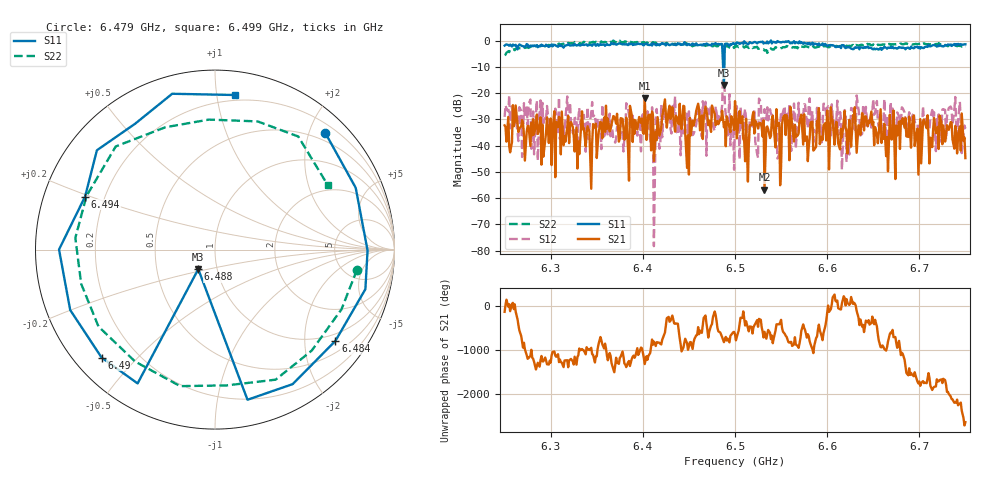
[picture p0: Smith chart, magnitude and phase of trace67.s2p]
# Hz S RI R 50
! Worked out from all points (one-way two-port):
!   401 points, 6.25 GHz to 6.75 GHz, reference 50 ohm
!   highest |S21| = -21.85 dB at 6.402 GHz (marker M1); lowest = -56.8 dB at 6.532 GHz (marker M2)
!   lowest |S11| = -16.9 dB at 6.488 GHz (marker M3), VSWR 1.33, Z = 40.6 - j9.03 ohm
!   |S11| at or under -10 dB: 6.487115 GHz to 6.488441 GHz (1.326 MHz wide, 0.0204 % of centre)
!   |S22| runs from -5.6 to 0.0 dB; largest |S21 - S12| = 0.72
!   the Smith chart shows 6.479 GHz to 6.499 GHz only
!   S11 on the Smith chart (normalised r, x): 6.479 GHz: 0.35, +2.28; 6.484 GHz: 0.79, -2.77; 6.488 GHz: 0.81, -0.18; 6.49 GHz: 0.08, -0.40; 6.494 GHz: 0.13, +0.19; 6.499 GHz: 0.16, +1.13
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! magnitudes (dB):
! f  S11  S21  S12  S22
! 6.25 GHz  -1.9  -32.3  -29.1  -5.6
! 6.334 GHz  -1.6  -26.9  -29.5  -1.3
! 6.402 GHz  -1.4  -21.9  -27.0  -0.9
! 6.41 GHz  -1.9  -27.0  -25.4  -0.9
! 6.418 GHz  -1.8  -36.2  -41.2  -1.4
! 6.442 GHz  -1.5  -33.7  -32.7  -1.6
! 6.45 GHz  -1.3  -51.0  -27.0  -1.7
! 6.459 GHz  -1.6  -25.3  -26.6  -1.8
! 6.479 GHz  -1.0  -32.2  -25.0  -1.9
! 6.484 GHz  -1.5  -30.0  -29.6  -2.4
! 6.488 GHz  -16.9  -33.0  -2.9  -2.2
! 6.49 GHz  -1.2  -40.2  -28.4  -2.1
! 6.494 GHz  -2.1  -33.2  -20.5  -2.7
! 6.499 GHz  -1.2  -34.0  -49.2  -2.8
! 6.5 GHz  -1.2  -23.1  -26.3  -2.1
! 6.512 GHz  -0.9  -29.8  -29.8  -2.1
! 6.532 GHz  -0.8  -56.8  -26.1  -3.8
! 6.584 GHz  -0.8  -30.8  -26.8  -2.6
! 6.668 GHz  -2.8  -28.2  -29.6  -1.3
! 6.7 GHz  -2.5  -40.8  -32.6  -1.3
! 6.706 GHz  -2.4  -31.3  -31.4  -1.2
! 6.75 GHz  -1.4  -44.8  -33.5  -2.2
